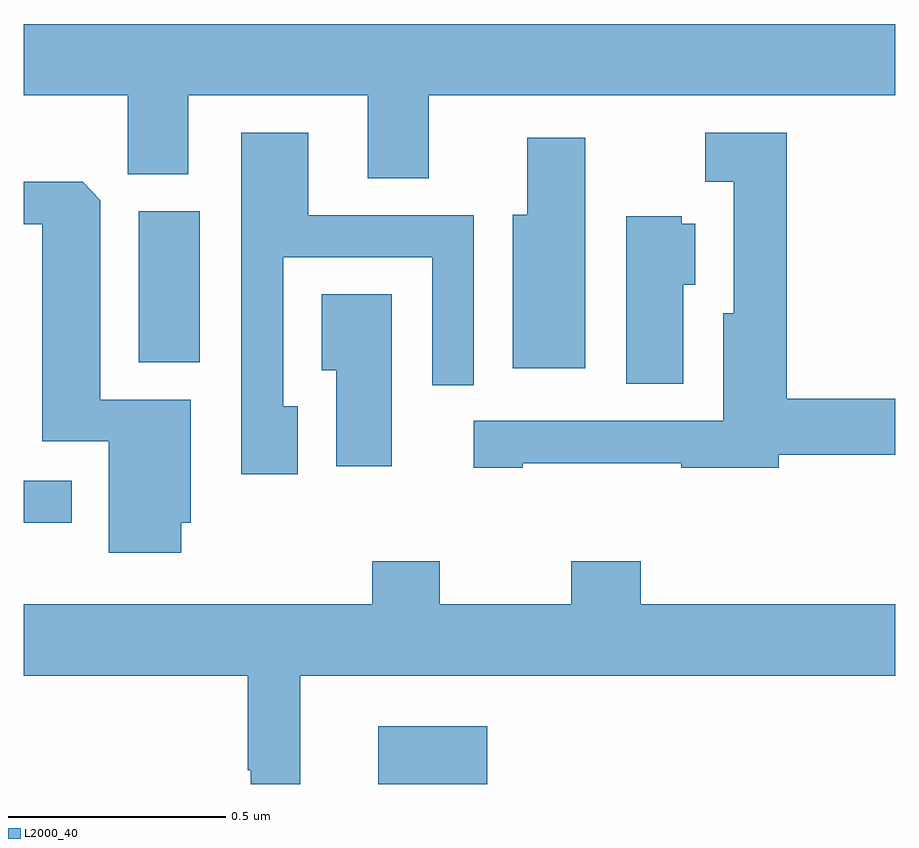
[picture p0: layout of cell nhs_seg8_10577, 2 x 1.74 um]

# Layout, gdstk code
import gdstk
lib = gdstk.Library(unit=1e-6, precision=1e-09)
def R(c, l, rs):  # rectangles x0, y0, x1, y1
    for r in rs: c.add(gdstk.rectangle(r[:2], r[2:], *l))
def P(c, l, *ps):  # polygons
    for p in ps: c.add(gdstk.Polygon(p, *l))
L2000_40 = (2000, 40)

nhs_seg8_10577 = lib.new_cell('nhs_seg8_10577')
R(nhs_seg8_10577, L2000_40, [(251.813,1134.9,252.064,1135.033), (251,1135.5,251.11,1135.596), (251.264,1135.868,251.404,1136.214)])
P(nhs_seg8_10577, L2000_40, [(251.929,1136.48),(253,1136.48),(253,1136.644),(251,1136.644),(251,1136.48),(251.239,1136.48),(251.239,1136.299),(251.377,1136.299),(251.377,1136.48),(251.789,1136.48),(251.789,1136.29),(251.929,1136.29)],
  [(252.145,1135.636),(252.509,1135.636),(252.509,1135.626),(252.733,1135.626),(252.733,1135.656),(253,1135.656),(253,1135.784),(252.751,1135.784),(252.751,1136.395),(252.564,1136.395),(252.564,1136.282),(252.629,1136.282),(252.629,1135.98),(252.605,1135.98),(252.605,1135.734),(252.033,1135.734),(252.033,1135.626),(252.145,1135.626)],
  [(251.629,1135.767),(251.595,1135.767),(251.595,1136.109),(251.937,1136.109),(251.937,1135.815),(252.033,1135.815),(252.033,1136.205),(251.653,1136.205),(251.653,1136.395),(251.499,1136.395),(251.499,1135.611),(251.629,1135.611)],
  [(252.289,1136.383),(252.155,1136.383),(252.155,1136.206),(252.122,1136.206),(252.122,1135.854),(252.289,1135.854)],
  [(251.361,1135.499),(251.383,1135.499),(251.383,1135.782),(251.176,1135.782),(251.176,1136.24),(251.135,1136.282),(251,1136.282),(251,1136.184),(251.042,1136.184),(251.042,1135.686),(251.195,1135.686),(251.195,1135.431),(251.361,1135.431)],
  [(252.514,1136.046),(252.541,1136.046),(252.541,1136.186),(252.51,1136.186),(252.51,1136.203),(252.383,1136.203),(252.383,1135.819),(252.514,1135.819)],
  [(251.845,1136.024),(251.684,1136.024),(251.684,1135.85),(251.717,1135.85),(251.717,1135.629),(251.845,1135.629)],
  [(251.635,1135.148),(253,1135.148),(253,1135.312),(252.416,1135.312),(252.416,1135.411),(252.256,1135.411),(252.256,1135.312),(251.955,1135.312),(251.955,1135.411),(251.8,1135.411),(251.8,1135.312),(251,1135.312),(251,1135.148),(251.514,1135.148),(251.514,1134.932),(251.521,1134.932),(251.521,1134.9),(251.635,1134.9)])

lib.write_gds('nhs_seg8_10577.gds')
